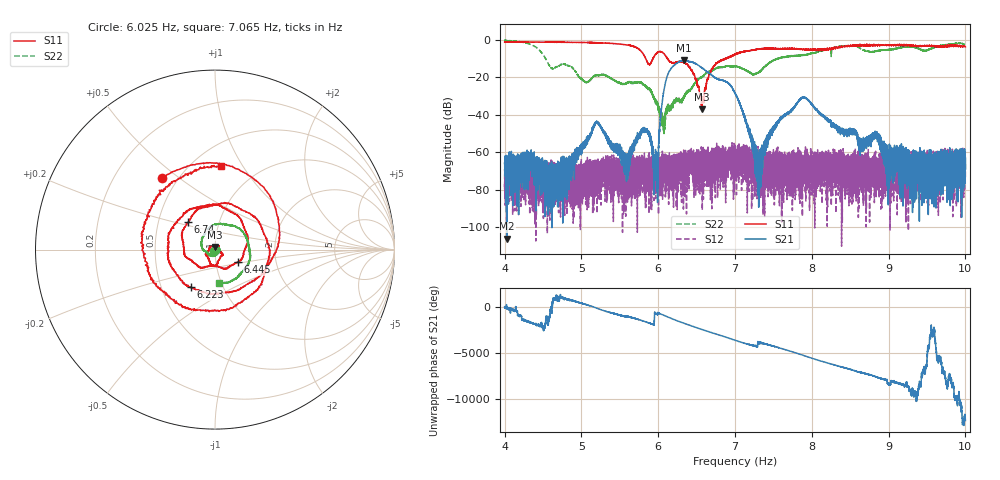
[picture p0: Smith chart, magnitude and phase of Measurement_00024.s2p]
!Created with skrf (http://scikit-rf.org).
# Hz S RI R 50.0
!freq ReS11 ImS11 ReS21 ImS21 ReS12 ImS12 ReS22 ImS22
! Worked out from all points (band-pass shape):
!   14001 points, 4 Hz to 10 Hz, reference 50 ohm
!   highest |S21| = -10.78 dB at 6.338 Hz (marker M1); lowest = -106.3 dB at 4.033 Hz (marker M2)
!   |S21| within 3 dB of the highest: 6.197 Hz to 6.533 Hz (335.3 mHz wide, 5.27 % of centre); 6.533006 Hz to 6.533958 Hz (951.2 uHz wide, 0.0146 % of centre)
!   lowest |S11| = -37.0 dB at 6.568 Hz (marker M3), VSWR 1.03, Z = 49.8 + j1.39 ohm
!   |S11| at or under -10 dB: 5.838 Hz to 5.931 Hz (92.54 mHz wide, 1.57 % of centre); 6.120929 Hz to 6.121086 Hz (157 uHz wide, 0.00256 % of centre); 6.122 Hz to 6.869 Hz (747.5 mHz wide, 11.5 % of centre)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
!   |S22| runs from -50.0 to -0.2 dB; largest |S21 - S12| = 0.29
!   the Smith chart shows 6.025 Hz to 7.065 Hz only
!   S11 on the Smith chart (normalised r, x): 6.025 Hz: 0.41, +0.43; 6.223 Hz: 0.70, -0.32; 6.445 Hz: 1.28, -0.18; 6.74 Hz: 0.71, +0.23; 7.065 Hz: 0.68, +0.81
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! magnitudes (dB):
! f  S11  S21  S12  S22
! 4 Hz  -1.0  -66.0  -76.9  -0.3
! 4.033 Hz  -1.0  -106.3  -70.9  -0.3
! 4.619 Hz  -1.1  -87.5  -81.4  -15.2
! 5 Hz  -1.3  -56.2  -73.9  -20.7
! 5.201 Hz  -1.5  -43.9  -68.8  -18.8
! 5.583 Hz  -2.5  -63.7  -75.0  -23.2
! 5.811 Hz  -7.8  -47.3  -62.7  -24.0
! 6 Hz  -6.4  -60.7  -68.3  -35.4
! 6.025 Hz  -6.1  -43.3  -66.2  -40.8
! 6.1 Hz  -8.6  -21.8  -67.2  -39.6
! 6.223 Hz  -12.0  -13.0  -76.5  -33.0
! 6.338 Hz  -12.0  -10.8  -63.3  -30.9
! 6.445 Hz  -16.7  -11.8  -64.3  -25.2
! 6.568 Hz  -37.0  -14.8  -77.0  -19.8
! 6.74 Hz  -13.4  -20.1  -60.9  -15.4
! 7 Hz  -7.7  -28.3  -58.6  -14.0
! 7.065 Hz  -6.6  -34.4  -61.7  -14.6
! 7.309 Hz  -4.9  -89.4  -62.0  -17.3
! 7.59 Hz  -4.6  -43.0  -65.2  -9.5
! 8 Hz  -5.3  -34.1  -77.0  -6.9
! 9 Hz  -2.7  -72.3  -79.5  -5.1
! 10 Hz  -3.6  -63.2  -73.5  -3.1
